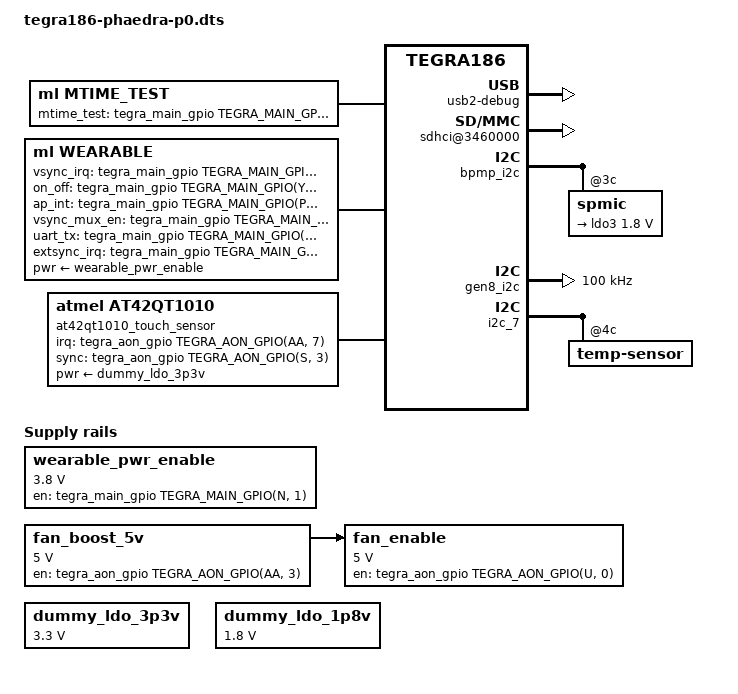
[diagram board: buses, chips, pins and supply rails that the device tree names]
/*
 * tegra186-phaedra.dtsi
 *
 * Main device tree for the phaedra product.
 *
 * Copyright (c) 2016, Magic Leap, Inc.  All rights reserved.
 *
 * This program is free software; you can redistribute it and/or modify
 * it under the terms of the GNU General Public License as published by
 * the Free Software Foundation; version 2 of the License.
 *
 * This program is distributed in the hope that it will be useful, but WITHOUT
 * ANY WARRANTY; without even the implied warranty of MERCHANTABILITY or
 * FITNESS FOR A PARTICULAR PURPOSE.  See the GNU General Public License for
 * more details.
 */

#include "tegra186-phaedra.dtsi"
#include "tegra186-platforms/tegra186-phaedra-comms-p0.dtsi"

/ {
	nvidia,dtsfilename = __DTBNAME__;

	firmware {
		android {
			hardware = "quill";
		};
	};

	chosen {
		ml,disable-verity-check;
	};

	mtime_test {
		compatible = "ml,mtime_test";
		status = "okay";
		gpio_mtime_test = <&tegra_main_gpio TEGRA_MAIN_GPIO(N, 5) GPIO_ACTIVE_HIGH>;
		/*
	        From the PEQ0 Parker Pinout spreadsheet:
		GPIO_CAM6 AY34 AW32 unused_GPIO_CAM6 F13 SPI1_MOSI GPIO3_PN.05 VGP6 SPI4_DOUT
		CODEC_SPI_DOUT J1412 pin 3
		*/
	};

	pinctrl@3520000 {
		pinmux {
			usb2-debug {
				status = "okay";
			};
		};
	};

	sdhci@3460000 {
		status = "okay";
	};

	spi@3240000 {
		status = "disabled";
		spi-totem {
			status = "disabled";
		};
	};

	spi@3270000 {/* QSPI NOR */
		status = "disabled";
	};

	spi@3210000 {
		/delete-node/ spi-ak9912;
		/delete-node/ spi-icm20602;
	};

	aon_gzl {
		status = "okay";
	};

	pwm_fan_shared_data: pfsd {
		active_rpm = <0 1000 2000 3000 4000 5000 6000 7000 10000 11000>;
		state_cap_lookup = <2 2 2 2 3 3 3 4 4 4>;
		state_cap = <7>;
	};

	pwm-fan {
		active_pwm = <0 80 120 160 255 255 255 255 255 255>;
	};

	thermal-fan-est {
		active_trip_temps = <0 51000 61000 71000 82000
				140000 150000 160000 170000 180000>;
		active_hysteresis = <0 15000 9000 9000 10000
				0 0 0 0 0>;
	};

	tegra_tachometer: tachometer@39c0000 {
		pulse-per-rev = <1>;
		sampling-window = <1>;
	};

	thermal-zones {
			Tboard_tegra {
				thermal-sensors = <&tegra_tmp451 0>;
			};
			Tdiode_tegra {
				thermal-sensors = <&tegra_tmp451 1>;
			};

			/delete-node/ tmp108_batt;
			/delete-node/ tmp108_wlan;
			/delete-node/ tmp108_gpu;
	};

	wearable {
		compatible = "ml,wearable";
		status = "okay";
		pwr-supply = <&wearable_pwr_enable>;
		max_curr = <750>;
		gpio_vsync_irq = <&tegra_main_gpio TEGRA_MAIN_GPIO(J, 7) GPIO_ACTIVE_HIGH>;
		gpio_on_off = <&tegra_main_gpio TEGRA_MAIN_GPIO(Y, 0) GPIO_ACTIVE_HIGH>;
		gpio_ap_int = <&tegra_main_gpio TEGRA_MAIN_GPIO(P, 3) GPIO_ACTIVE_HIGH>;
		gpio_vsync_mux_en = <&tegra_main_gpio TEGRA_MAIN_GPIO(D, 2) GPIO_ACTIVE_LOW>;
		gpio_uart_tx = <&tegra_main_gpio TEGRA_MAIN_GPIO(T, 0) GPIO_ACTIVE_HIGH>;
		gpio_extsync_irq = <&tegra_main_gpio TEGRA_MAIN_GPIO(T, 1) GPIO_ACTIVE_HIGH>;
		/delete-property/ gpio-on-off-active-low;
		/delete-property/ gpio_flt_irq;
	};

	serdes {
		compatible = "ml,serdes";
		status = "disabled";
	};

	at42qt1010_touch_sensor {
		compatible = "atmel,at42qt1010";
		pwr-supply = <&dummy_ldo_3p3v>;
		gpio_irq = <&tegra_aon_gpio TEGRA_AON_GPIO(AA, 7) GPIO_ACTIVE_HIGH>;
		gpio_sync = <&tegra_aon_gpio TEGRA_AON_GPIO(S, 3) GPIO_ACTIVE_HIGH>;
		run_mode = "fast";
		enable_on_suspend = <0>;
	};

	ufshci@2450000 {
		vddio-ufs-supply = <&dummy_ldo_3p3v>;
		vddio-ufs-ap-supply = <&dummy_ldo_1p8v>;
	};

	bpmp_i2c {
		spmic@3c {
			regulators {
				ldo3 {
					regulator-min-microvolt = <1800000>;
					regulator-max-microvolt = <1800000>;
					regulator-always-on;
				};
			};
		};
	};

	ml_pmss {
		/delete-property/ vcomp_alert_irq;
	};

	ml_therm {
		status = "disabled";
	};

	fixed-regulators {
		/* vdd_usb1_5v */
		regulator@5 {
			status = "disabled";
		};
		/* vdd_usb2_5v */
		regulator@17 {
			status = "disabled";
		};
		/* 70pin_CONN_PWR_ENABLE gpio pin */
		wearable_pwr_enable: wearable_pwr_enable {
			compatible = "regulator-fixed";
			status = "okay";
			regulator-name = "wearable_pwr_enable";
			/* varies depending on battery voltage */
			regulator-min-microvolt = <3800000>;
			regulator-max-microvolt = <3800000>;
			enable-active-high;
			gpio = <&tegra_main_gpio TEGRA_MAIN_GPIO(N, 1) 0>;
		};
		/* 5V_BST_EN gpio pin */
		fan_boost_5v: fan_boost_5v {
			compatible = "regulator-fixed";
			status = "okay";
			regulator-name = "fan_boost_5v";
			regulator-min-microvolt = <5000000>;
			regulator-max-microvolt = <5000000>;
			enable-active-high;
			gpio = <&tegra_aon_gpio TEGRA_AON_GPIO(AA, 3) 0>;
		};
		/* PS_VDD_FAN_ENABLE gpio pin */
		fan_enable: fan_enable {
			compatible = "regulator-fixed";
			status = "okay";
			regulator-name = "fan_enable";
			regulator-min-microvolt = <5000000>;
			regulator-max-microvolt = <5000000>;
			enable-active-high;
			gpio = <&tegra_aon_gpio TEGRA_AON_GPIO(U, 0) 0>;
			vin-supply = <&fan_boost_5v>;
		};
		/* Virtual Dummy 3.3V LDO */
		dummy_ldo_3p3v: dummy_ldo_3p3v {
			compatible = "regulator-fixed";
			status = "okay";
			regulator-name = "dummy_ldo_3p3v";
			regulator-min-microvolt = <3300000>;
			regulator-max-microvolt = <3300000>;
			/* CARRIER_PWR_ON - always on */
			regulator-always-on;
			gpio = <0>;
		};
		/* Virtual Dummy 1.8V LDO */
		dummy_ldo_1p8v: dummy_ldo_1p8v {
			compatible = "regulator-fixed";
			status = "okay";
			regulator-name = "dummy_ldo_1p8v";
			regulator-min-microvolt = <1800000>;
			regulator-max-microvolt = <1800000>;
			/* CARRIER_PWR_ON - always on */
			regulator-always-on;
			gpio = <0>;
		};
	};

	host1x {
		sor {
			dp-display {
				nvidia,is_ext_dp_panel = <0>;
				ml,preferred_mode = <0>;
			};
		};

		nvdisplay@15210000 {
			status = "okay";
			nvidia,dc-or-node = "/host1x/sor1";
		};
	};

	/delete-node/ factory_kill;

	gpio-keys {
		volume_down {
			label = "Volume Down";
			gpios = <&tegra_aon_gpio TEGRA_AON_GPIO(FF, 2) GPIO_ACTIVE_LOW>;
			linux,code = <KEY_VOLUMEDOWN>;
			debounce-interval = <30>;
		};
	};
};

&gen8_i2c {
	clock-frequency = <100000>;
};

&i2c_6 {
	ps8713 {
		status = "disabled";
	};
};

&i2c_7 {
	status = "okay";
	ml_mux1: nrf52_ml_mux@66 {
		compatible = "nordic,nrf52_ml_mux";
		reg = <0x66>;
		queue-len = <20>;
		max-write-len = <128>;
		max-receive-len = <128>;
		wakeup-source;
		interrupt-parent = <&tegra_main_gpio>;
		interrupts = <TEGRA_MAIN_GPIO(D, 3) GPIO_ACTIVE_HIGH>;
		interrupt-names = "irq";
		tx-highpri;
		status = "disabled";
		nvidia-ready = <&tegra_main_gpio TEGRA_MAIN_GPIO(M, 0) GPIO_ACTIVE_HIGH>;
		nordic-reset = <&tegra_main_gpio TEGRA_MAIN_GPIO(D, 1) GPIO_ACTIVE_HIGH>;
		app_fw_file = "nrf52832_xxaa_beltpack_app.tar";
		bl_fw_file = "nrf52832_xxaa_beltpack_bl.tar";
	};

	temp-sensor@4c {
		status = "okay";
	};
};

&i2c_8 {
	temp-sensor@4c {
		status = "disabled";
	};
};

&i2c_1 {
	/delete-node/ nrf52_ml_mux@66;
};

&vbus_id_extcon {
		enable-gpios = <1>;
};

&tmp108_batt_sensor {
	status = "disabled";
};

&tmp108_wlan_sensor {
	status = "disabled";
};

&tmp108_gpu_sensor {
	status = "disabled";
};
